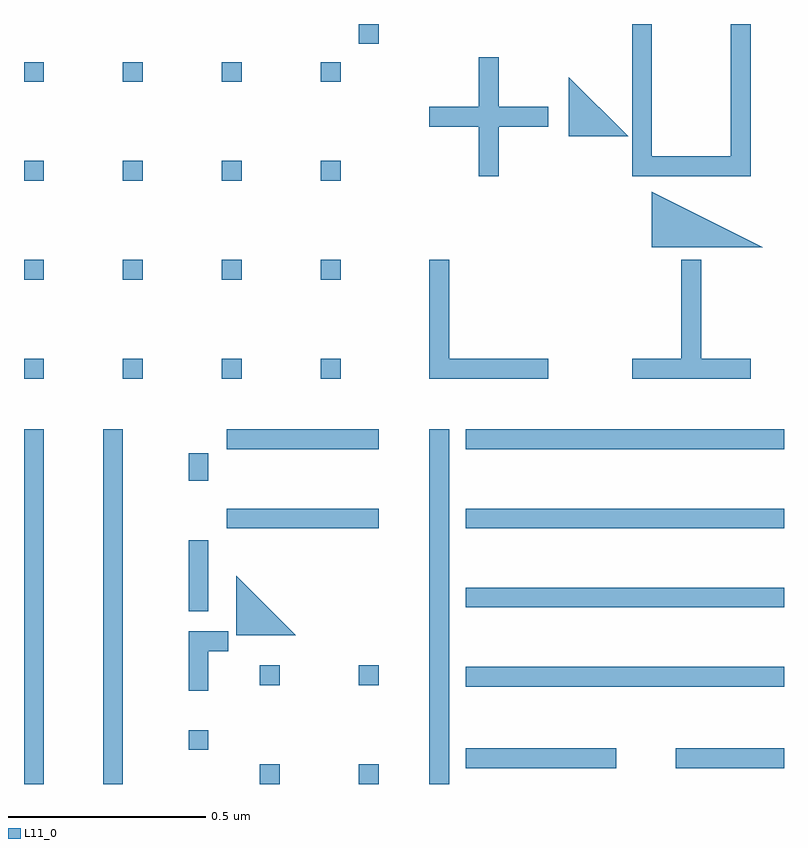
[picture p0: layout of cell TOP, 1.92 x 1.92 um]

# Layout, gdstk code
import gdstk
lib = gdstk.Library(unit=1e-6, precision=1e-09)
def R(c, l, rs):  # rectangles x0, y0, x1, y1
    for r in rs: c.add(gdstk.rectangle(r[:2], r[2:], *l))
def A(c, l, x, y, w, h, nx, ny, dx, dy):  # array of equal rectangles
    R(c, l, [(x+i*dx, y+j*dy, x+i*dx+w, y+j*dy+h) for i in range(nx) for j in range(ny)])
def P(c, l, *ps):  # polygons
    for p in ps: c.add(gdstk.Polygon(p, *l))
L11_0 = (11, 0)

top = lib.new_cell('TOP')
A(top, L11_0, 1.18, 0.31, 0.804, 0.05, 1, 4, 0, 0.2)
A(top, L11_0, 0.064, 1.088, 0.05, 0.05, 4, 4, 0.25, 0.25)
R(top, L11_0, [(0.064,0.064,0.114,0.96), (0.264,0.064,0.314,0.96), (0.66,0.064,0.71,0.114), (0.91,0.064,0.96,0.114), (1.088,0.064,1.138,0.96), (1.18,0.104,1.56,0.154), (1.71,0.104,1.984,0.154), (0.48,0.15,0.53,0.2), (0.66,0.314,0.71,0.364), (0.91,0.314,0.96,0.364), (0.48,0.5,0.53,0.68), (0.576,0.71,0.96,0.76), (0.48,0.83,0.53,0.9), (0.576,0.91,0.96,0.96), (0.91,1.934,0.96,1.984)])
P(top, L11_0, [(0.48,0.3),(0.48,0.45),(0.58,0.45),(0.58,0.4),(0.53,0.4),(0.53,0.3)],
  [(0.6,0.44),(0.6,0.59),(0.75,0.44)],
  [(1.088,1.088),(1.088,1.388),(1.138,1.388),(1.138,1.138),(1.388,1.138),(1.388,1.088)],
  [(1.6,1.088),(1.6,1.138),(1.725,1.138),(1.725,1.388),(1.775,1.388),(1.775,1.138),(1.9,1.138),(1.9,1.088)],
  [(1.213,1.6),(1.213,1.725),(1.088,1.725),(1.088,1.775),(1.213,1.775),(1.213,1.9),(1.263,1.9),(1.263,1.775),(1.388,1.775),(1.388,1.725),(1.263,1.725),(1.263,1.6)],
  [(1.6,1.6),(1.6,1.984),(1.65,1.984),(1.65,1.65),(1.85,1.65),(1.85,1.984),(1.9,1.984),(1.9,1.6)],
  [(1.44,1.7),(1.44,1.85),(1.59,1.7)],
  [(1.65,1.42),(1.65,1.56),(1.93,1.42)])

lib.write_gds('TOP.gds')
